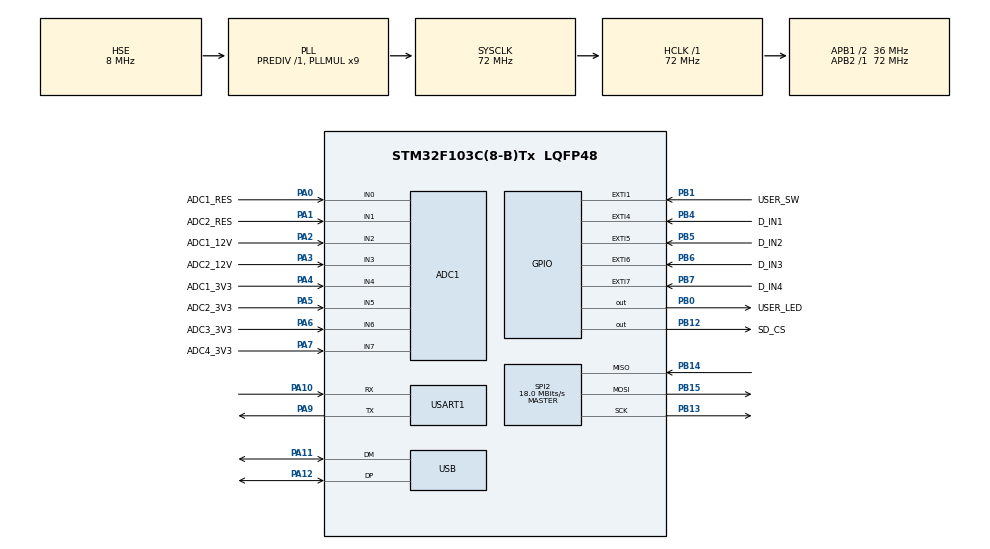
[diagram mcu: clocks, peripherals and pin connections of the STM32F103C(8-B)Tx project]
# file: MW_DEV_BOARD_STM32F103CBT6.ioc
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ADC1.Channel-0\#ChannelRegularConversion=ADC_CHANNEL_0
ADC1.NbrOfConversionFlag=1
ADC1.Rank-0\#ChannelRegularConversion=1
ADC1.SamplingTime-0\#ChannelRegularConversion=ADC_SAMPLETIME_1CYCLE_5
ADC1.master=1
FATFS._MAX_SS=4096
FATFS._USE_LFN=1
Mcu.Family=STM32F1
Mcu.Name=STM32F103C(8-B)Tx
Mcu.Package=LQFP48
NVIC.EXTI1_IRQn=true\:2\:0\:true\:false\:true\:true\:true\:true
NVIC.EXTI4_IRQn=true\:1\:0\:true\:false\:true\:true\:true\:true
NVIC.EXTI9_5_IRQn=true\:1\:0\:true\:false\:true\:true\:true\:true
NVIC.PriorityGroup=NVIC_PRIORITYGROUP_4
NVIC.TIM2_IRQn=true\:0\:0\:false\:false\:true\:true\:true\:true
NVIC.USB_HP_CAN1_TX_IRQn=true\:2\:0\:true\:false\:true\:true\:true\:true
NVIC.USB_LP_CAN1_RX0_IRQn=true\:2\:0\:true\:false\:true\:true\:true\:true
PA0-WKUP.GPIO_Label=ADC1_RES
PA0-WKUP.Signal=ADCx_IN0
PA1.GPIO_Label=ADC2_RES
PA1.Signal=ADCx_IN1
PA10.Mode=Asynchronous
PA10.Signal=USART1_RX
PA11.Mode=Device
PA11.Signal=USB_DM
PA12.Mode=Device
PA12.Signal=USB_DP
PA13.Mode=Serial_Wire
PA13.Signal=SYS_JTMS-SWDIO
PA14.Mode=Serial_Wire
PA14.Signal=SYS_JTCK-SWCLK
PA2.GPIO_Label=ADC1_12V
PA2.Signal=ADCx_IN2
PA3.GPIO_Label=ADC2_12V
PA3.Signal=ADCx_IN3
PA4.GPIO_Label=ADC1_3V3
PA4.Signal=ADCx_IN4
PA5.GPIO_Label=ADC2_3V3
PA5.Signal=ADCx_IN5
PA6.GPIO_Label=ADC3_3V3
PA6.Signal=ADCx_IN6
PA7.GPIO_Label=ADC4_3V3
PA7.Signal=ADCx_IN7
PA9.Mode=Asynchronous
PA9.Signal=USART1_TX
PB0.GPIO_Label=USER_LED
PB0.GPIO_PuPd=GPIO_PULLUP
PB0.GPIO_Speed=GPIO_SPEED_FREQ_HIGH
PB0.PinState=GPIO_PIN_SET
PB0.Signal=GPIO_Output
PB1.GPIO_Label=USER_SW
PB1.GPIO_ModeDefaultEXTI=GPIO_MODE_IT_FALLING
PB1.GPIO_PuPd=GPIO_PULLUP
PB1.Signal=GPXTI1
PB12.GPIO_Label=SD_CS
PB12.GPIO_Speed=GPIO_SPEED_FREQ_HIGH
PB12.PinState=GPIO_PIN_SET
PB12.Signal=GPIO_Output
PB13.Mode=Full_Duplex_Master
PB13.Signal=SPI2_SCK
PB14.Mode=Full_Duplex_Master
PB14.Signal=SPI2_MISO
PB15.Mode=Full_Duplex_Master
PB15.Signal=SPI2_MOSI
PB4.GPIO_Label=D_IN1
PB4.GPIO_ModeDefaultEXTI=GPIO_MODE_IT_FALLING
PB4.GPIO_PuPd=GPIO_PULLUP
PB4.Signal=GPXTI4
PB5.GPIO_Label=D_IN2
PB5.GPIO_ModeDefaultEXTI=GPIO_MODE_IT_FALLING
PB5.GPIO_PuPd=GPIO_PULLUP
PB5.Signal=GPXTI5
PB6.GPIO_Label=D_IN3
PB6.GPIO_ModeDefaultEXTI=GPIO_MODE_IT_FALLING
PB6.GPIO_PuPd=GPIO_PULLUP
PB6.Signal=GPXTI6
PB7.GPIO_Label=D_IN4
PB7.GPIO_ModeDefaultEXTI=GPIO_MODE_IT_FALLING
PB7.GPIO_PuPd=GPIO_PULLUP
PB7.Signal=GPXTI7
PD0-OSC_IN.Mode=HSE-External-Oscillator
PD0-OSC_IN.Signal=RCC_OSC_IN
PD1-OSC_OUT.Mode=HSE-External-Oscillator
PD1-OSC_OUT.Signal=RCC_OSC_OUT
ProjectManager.HeapSize=0x200
ProjectManager.StackSize=0x400
ProjectManager.TargetToolchain=STM32CubeIDE
RCC.ADCPresc=RCC_ADCPCLK2_DIV6
RCC.AHBFreq_Value=72000000
RCC.APB1CLKDivider=RCC_HCLK_DIV2
RCC.APB1Freq_Value=36000000
RCC.APB1TimFreq_Value=72000000
RCC.APB2Freq_Value=72000000
RCC.APB2TimFreq_Value=72000000
RCC.HCLKFreq_Value=72000000
RCC.PLLMUL=RCC_PLL_MUL9
RCC.PLLSourceVirtual=RCC_PLLSOURCE_HSE
RCC.SYSCLKFreq_VALUE=72000000
RCC.SYSCLKSource=RCC_SYSCLKSOURCE_PLLCLK
RCC.USBFreq_Value=48000000
RCC.USBPrescaler=RCC_USBCLKSOURCE_PLL_DIV1_5
SH.ADCx_IN0.0=ADC1_IN0,IN0
SH.ADCx_IN1.0=ADC1_IN1,IN1
SH.ADCx_IN2.0=ADC1_IN2,IN2
SH.ADCx_IN3.0=ADC1_IN3,IN3
SH.ADCx_IN4.0=ADC1_IN4,IN4
SH.ADCx_IN5.0=ADC1_IN5,IN5
SH.ADCx_IN6.0=ADC1_IN6,IN6
SH.ADCx_IN7.0=ADC1_IN7,IN7
SPI2.BaudRatePrescaler=SPI_BAUDRATEPRESCALER_2
SPI2.CalculateBaudRate=18.0 MBits/s
SPI2.Direction=SPI_DIRECTION_2LINES
SPI2.Mode=SPI_MODE_MASTER
SPI2.VirtualType=VM_MASTER
TIM2.Period=9
TIM2.Prescaler=719
USART1.VirtualMode=VM_ASYNC
USB_DEVICE.CLASS_NAME_FS=CDC
USB_DEVICE.MANUFACTURER_STRING=M.WROBEL
USB_DEVICE.VirtualMode=Cdc
USB_DEVICE.VirtualModeFS=Cdc_FS
VP_ADC1_TempSens_Input.Mode=IN-TempSens
VP_FATFS_VS_Generic.Mode=User_defined
VP_TIM2_VS_ClockSourceINT.Mode=Internal
VP_USB_DEVICE_VS_USB_DEVICE_CDC_FS.Mode=CDC_FS
board=custom

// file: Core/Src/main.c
/* USER CODE BEGIN Header */
/**
  ******************************************************************************
  * @file           : main.c
  * @brief          : Main program body
  ******************************************************************************
  * @attention
  *
  * Copyright (c) 2022 STMicroelectronics.
  * All rights reserved.
  *
  * This software is licensed under terms that can be found in the LICENSE file
  * in the root directory of this software component.
  * If no LICENSE file comes with this software, it is provided AS-IS.
  *
  ******************************************************************************
  */
/* USER CODE END Header */
#include "main.h"
#include "fatfs.h"
#include "usb_device.h"

/* USER CODE BEGIN Includes */

#include "string.h"
#include "stdio.h"
#include "stdlib.h"
#include "stdbool.h"

#include "usbd_cdc_if.h"
#include "fatfs_sd.h"
#include "eeprom.h"

/* USER CODE END Includes */

ADC_HandleTypeDef hadc1;

SPI_HandleTypeDef hspi2;

TIM_HandleTypeDef htim2;

UART_HandleTypeDef huart1;

void SystemClock_Config(void);
static void MX_GPIO_Init(void);
static void MX_SPI2_Init(void);
static void MX_TIM2_Init(void);
static void MX_USART1_UART_Init(void);
static void MX_ADC1_Init(void);

/* USER CODE BEGIN 0 */

//FATFS variables
FATFS fs;
FIL fil;
FRESULT fresult;
char buffer [256];

//uSD card capacity related variables
FATFS *pfs;
DWORD fre_clust;
uint32_t total, free_space;

uint8_t m_state, m_init;
uint8_t sd_update;
uint32_t m_current_number, m_session_number;

uint16_t VirtAddVarTab[NB_OF_VAR];
uint16_t VarDataTab[NB_OF_VAR] = {0};
uint16_t VarDataTabRead[NB_OF_VAR];
uint16_t VarIndex,VarDataTmp = 0;

uint8_t file_update = 0;

typedef struct TTime{
	uint32_t us; 			//100us - 1/10ms
	uint32_t mils;
	uint32_t sec;
	uint16_t min;
	uint16_t hour;
} TTime;
TTime Time;

bool state = true;

char file_name [64];
char tbuf [64] = {'0'};

void led_blink (uint8_t state);

void send_uart(char *string);
void send_usb(char *string);
int bufsize (char *buf);
void bufclear (void);

void measurement (void);

/* USER CODE END 0 */

int main(void)
{

  /* MCU Configuration--------------------------------------------------------*/

  /* Reset of all peripherals, Initializes the Flash interface and the Systick. */
  HAL_Init();

  /* Configure the system clock */
  SystemClock_Config();

  /* Initialize all configured peripherals */
  MX_GPIO_Init();
  MX_SPI2_Init();
  MX_FATFS_Init();
  MX_USB_DEVICE_Init();
  MX_TIM2_Init();
  MX_USART1_UART_Init();
  MX_ADC1_Init();
  /* USER CODE BEGIN 2 */

  HAL_TIM_Base_Start_IT(&htim2);
  HAL_FLASH_Unlock();

  //EEPROM Init
  if( EE_Init() != HAL_OK){
	  Error_Handler();
  }

  // Fill EEPROM variables addresses
  for(VarIndex = 1; VarIndex <= NB_OF_VAR; VarIndex++){
	  VirtAddVarTab[VarIndex-1] = VarIndex;
  }

  //read EEPROM
  for (VarIndex = 0; VarIndex < NB_OF_VAR; VarIndex++){
	  if((EE_ReadVariable(VirtAddVarTab[VarIndex], &VarDataTabRead[VarIndex])) != HAL_OK){
		  Error_Handler();
  	  }
  }

  m_session_number = VarDataTabRead[0];

  if (m_session_number < 256){
	  VarDataTab[0] = m_session_number + 1;
  } else {
	  m_session_number = 0;
	  VarDataTab[0] = m_session_number + 1;
  }

  for (VarIndex = 0; VarIndex < NB_OF_VAR; VarIndex++){
	  if((EE_WriteVariable(VirtAddVarTab[VarIndex],  VarDataTab[NB_OF_VAR-VarIndex-1])) != HAL_OK){
  		  Error_Handler();
  	  }
  }

  HAL_Delay(1000);

  send_uart("\r\n***** uSD_CARD INIT ***** \r\n \r\n");
  send_usb("\r\n***** uSD_CARD INIT ***** \r\n \r\n");

  fresult = f_mount(&fs, "", 1);
  if (fresult != FR_OK) {
	  led_blink(0);
	  send_uart ("ERROR MOUNTING SD CARD !!!\r\n \r\n");
	  send_usb ("ERROR MOUNTING SD CARD !!!\r\n \r\n");
  } else {
	  led_blink(1);
	  send_uart ("uSD CARD MOUNTED SUCCESFULLY!!!\r\n \r\n");
	  send_usb ("uSD CARD MOUNTED SUCCESFULLY!!!\r\n \r\n");
  }

  HAL_Delay(100);

  send_uart(":: uSD_CARD INFO ::\r\n");
  send_usb(":: uSD_CARD INFO ::\r\n");

  f_getfree ("", &fre_clust, &pfs);
  total = (uint32_t) (( pfs -> n_fatent - 2) * pfs -> csize * 0.5);
  sprintf (buffer, "uSD CARD total size: \t%lu bytes / %lu mb\r\n", total, total/1024);
  send_uart(buffer);
  send_usb(buffer);
  bufclear();

  free_space = (uint32_t) ( fre_clust * pfs -> csize * 0.5);
  sprintf (buffer, "uSD CARD free space: \t%lu bytes / %lu mb\r\n", free_space, free_space/1024);
  send_uart(buffer);
  send_usb(buffer);
  bufclear();

  sprintf (buffer, "\r\nSession no.: \t%ld\r\n", m_session_number);
  send_uart(buffer);
  send_usb(buffer);
  bufclear();

  send_uart("************************* \r\n");
  send_usb("************************* \r\n");

  HAL_Delay(100);

  HAL_GPIO_WritePin(USER_LED_GPIO_Port, USER_LED_Pin, ENABLE);

  /* USER CODE END 2 */

  /* Infinite loop */
  while (1)
  {

    /* USER CODE BEGIN 3 */

	  switch (m_state){
	  case 1:{
		  if (m_init == 0){
				HAL_GPIO_WritePin(USER_LED_GPIO_Port, USER_LED_Pin, DISABLE);

				sprintf(file_name, "measure_%ld_%ld.txt", m_session_number, m_current_number);

				fresult = f_open (&fil, file_name, FA_OPEN_ALWAYS | FA_READ | FA_WRITE);

				m_current_number++;
				m_init = 1;

				Time.us = 0;
				Time.mils = 0;
				Time.sec = 0;
				Time.min = 0;

	  			send_uart("\r\n*** FILE INFO ***\r\n");
	  			send_usb("\r\n*** FILE INFO ***\r\n");

	  			sprintf(buffer, "file created: %s\r\n", file_name);
	  			send_uart(buffer);
	  			send_usb(buffer);
	  			bufclear();

	  			//SD CARD INFO WRITE
	  			fresult = f_puts ("*****\tFILE\tINFO\t*****\n", &fil);
	  			fresult = f_lseek (&fil, fil.fsize);
	  			sprintf(tbuf, "SSN:\t%ld\n", m_session_number);
	  			fresult = f_puts (tbuf, &fil);
	  			fresult = f_lseek (&fil, fil.fsize);
	  			sprintf(tbuf, "MSNT:\t%ld\n", m_current_number - 1);
	  			fresult = f_puts (tbuf, &fil);
	  			fresult = f_lseek (&fil, fil.fsize);
	  			fresult = f_puts ("LSB:\t0.10\t[ms]\n", &fil);
	  			//fresult = f_lseek (&fil, fil.fsize);
	  			//fresult = f_puts ("*****\t*****\t*****\t*****\n", &fil);
	  			fresult = f_lseek (&fil, fil.fsize);
	  			fresult = f_puts ("-----\t-----\t-----\t-----\n", &fil);
	  			fresult = f_lseek (&fil, fil.fsize);
	  			fresult = f_puts ("D_IN1\tD_IN2\tD_IN3\tD_IN4\n", &fil);
	  			fresult = f_lseek (&fil, fil.fsize);
	  			fresult = f_puts ("-----\t-----\t-----\t-----\n", &fil);

	  			f_getfree ("", &fre_clust, &pfs);
	  			total = (uint32_t) (( pfs -> n_fatent - 2) * pfs -> csize * 0.5);
	  			sprintf (buffer, "uSD CARD total size: \t%lu bytes / %lu mb\r\n", total, total/1024);
	  			send_uart(buffer);
	  			send_usb(buffer);
	  			bufclear();

	  			free_space = (uint32_t) ( fre_clust * pfs -> csize * 0.5);
	  			sprintf (buffer, "uSD CARD free space: \t%lu bytes / %lu mb\r\n", free_space, free_space/1024);
	  			send_uart(buffer);
	  			send_usb(buffer);
	  			bufclear();

	  			send_uart("\r\n---> MEASUREMENT START \r\n");
	  			send_usb("\r\n---> MEASUREMENT START \r\n");
	 	  }

		  if (sd_update) {
	 		  measurement();
	 	  }
	 	  break;
	  }
	  case 2: {
		  f_close(&fil);

		  m_init = 0;
	 	  m_state = 0;

  		  send_uart("MEASUREMENT STOPPED <---\r\n");
  		  send_usb("MEASUREMENT STOPPED <---\r\n");

		  HAL_GPIO_WritePin(USER_LED_GPIO_Port, USER_LED_Pin, ENABLE);

	 	  break;
	  }
	  }
  }
  /* USER CODE END 3 */
}

void SystemClock_Config(void)
{
  RCC_OscInitTypeDef RCC_OscInitStruct = {0};
  RCC_ClkInitTypeDef RCC_ClkInitStruct = {0};
  RCC_PeriphCLKInitTypeDef PeriphClkInit = {0};

  /** Initializes the RCC Oscillators according to the specified parameters
  * in the RCC_OscInitTypeDef structure.
  */
  RCC_OscInitStruct.OscillatorType = RCC_OSCILLATORTYPE_HSE;
  RCC_OscInitStruct.HSEState = RCC_HSE_ON;
  RCC_OscInitStruct.HSEPredivValue = RCC_HSE_PREDIV_DIV1;
  RCC_OscInitStruct.HSIState = RCC_HSI_ON;
  RCC_OscInitStruct.PLL.PLLState = RCC_PLL_ON;
  RCC_OscInitStruct.PLL.PLLSource = RCC_PLLSOURCE_HSE;
  RCC_OscInitStruct.PLL.PLLMUL = RCC_PLL_MUL9;
  if (HAL_RCC_OscConfig(&RCC_OscInitStruct) != HAL_OK)
  {
    Error_Handler();
  }

  /** Initializes the CPU, AHB and APB buses clocks
  */
  RCC_ClkInitStruct.ClockType = RCC_CLOCKTYPE_HCLK|RCC_CLOCKTYPE_SYSCLK
                              |RCC_CLOCKTYPE_PCLK1|RCC_CLOCKTYPE_PCLK2;
  RCC_ClkInitStruct.SYSCLKSource = RCC_SYSCLKSOURCE_PLLCLK;
  RCC_ClkInitStruct.AHBCLKDivider = RCC_SYSCLK_DIV1;
  RCC_ClkInitStruct.APB1CLKDivider = RCC_HCLK_DIV2;
  RCC_ClkInitStruct.APB2CLKDivider = RCC_HCLK_DIV1;

  if (HAL_RCC_ClockConfig(&RCC_ClkInitStruct, FLASH_LATENCY_2) != HAL_OK)
  {
    Error_Handler();
  }
  PeriphClkInit.PeriphClockSelection = RCC_PERIPHCLK_ADC|RCC_PERIPHCLK_USB;
  PeriphClkInit.AdcClockSelection = RCC_ADCPCLK2_DIV6;
  PeriphClkInit.UsbClockSelection = RCC_USBCLKSOURCE_PLL_DIV1_5;
  if (HAL_RCCEx_PeriphCLKConfig(&PeriphClkInit) != HAL_OK)
  {
    Error_Handler();
  }
}

static void MX_ADC1_Init(void)
{

  ADC_ChannelConfTypeDef sConfig = {0};

  /** Common config
  */
  hadc1.Instance = ADC1;
  hadc1.Init.ScanConvMode = ADC_SCAN_DISABLE;
  hadc1.Init.ContinuousConvMode = DISABLE;
  hadc1.Init.DiscontinuousConvMode = DISABLE;
  hadc1.Init.ExternalTrigConv = ADC_SOFTWARE_START;
  hadc1.Init.DataAlign = ADC_DATAALIGN_RIGHT;
  hadc1.Init.NbrOfConversion = 1;
  if (HAL_ADC_Init(&hadc1) != HAL_OK)
  {
    Error_Handler();
  }

  /** Configure Regular Channel
  */
  sConfig.Channel = ADC_CHANNEL_0;
  sConfig.Rank = ADC_REGULAR_RANK_1;
  sConfig.SamplingTime = ADC_SAMPLETIME_1CYCLE_5;
  if (HAL_ADC_ConfigChannel(&hadc1, &sConfig) != HAL_OK)
  {
    Error_Handler();
  }

}

static void MX_SPI2_Init(void)
{

  /* SPI2 parameter configuration*/
  hspi2.Instance = SPI2;
  hspi2.Init.Mode = SPI_MODE_MASTER;
  hspi2.Init.Direction = SPI_DIRECTION_2LINES;
  hspi2.Init.DataSize = SPI_DATASIZE_8BIT;
  hspi2.Init.CLKPolarity = SPI_POLARITY_LOW;
  hspi2.Init.CLKPhase = SPI_PHASE_1EDGE;
  hspi2.Init.NSS = SPI_NSS_SOFT;
  hspi2.Init.BaudRatePrescaler = SPI_BAUDRATEPRESCALER_2;
  hspi2.Init.FirstBit = SPI_FIRSTBIT_MSB;
  hspi2.Init.TIMode = SPI_TIMODE_DISABLE;
  hspi2.Init.CRCCalculation = SPI_CRCCALCULATION_DISABLE;
  hspi2.Init.CRCPolynomial = 10;
  if (HAL_SPI_Init(&hspi2) != HAL_OK)
  {
    Error_Handler();
  }

}

static void MX_TIM2_Init(void)
{

  TIM_ClockConfigTypeDef sClockSourceConfig = {0};
  TIM_MasterConfigTypeDef sMasterConfig = {0};

  htim2.Instance = TIM2;
  htim2.Init.Prescaler = 719;
  htim2.Init.CounterMode = TIM_COUNTERMODE_UP;
  htim2.Init.Period = 9;
  htim2.Init.ClockDivision = TIM_CLOCKDIVISION_DIV1;
  htim2.Init.AutoReloadPreload = TIM_AUTORELOAD_PRELOAD_DISABLE;
  if (HAL_TIM_Base_Init(&htim2) != HAL_OK)
  {
    Error_Handler();
  }
  sClockSourceConfig.ClockSource = TIM_CLOCKSOURCE_INTERNAL;
  if (HAL_TIM_ConfigClockSource(&htim2, &sClockSourceConfig) != HAL_OK)
  {
    Error_Handler();
  }
  sMasterConfig.MasterOutputTrigger = TIM_TRGO_RESET;
  sMasterConfig.MasterSlaveMode = TIM_MASTERSLAVEMODE_DISABLE;
  if (HAL_TIMEx_MasterConfigSynchronization(&htim2, &sMasterConfig) != HAL_OK)
  {
    Error_Handler();
  }

}

static void MX_USART1_UART_Init(void)
{

  huart1.Instance = USART1;
  huart1.Init.BaudRate = 115200;
  huart1.Init.WordLength = UART_WORDLENGTH_8B;
  huart1.Init.StopBits = UART_STOPBITS_1;
  huart1.Init.Parity = UART_PARITY_NONE;
  huart1.Init.Mode = UART_MODE_TX_RX;
  huart1.Init.HwFlowCtl = UART_HWCONTROL_NONE;
  huart1.Init.OverSampling = UART_OVERSAMPLING_16;
  if (HAL_UART_Init(&huart1) != HAL_OK)
  {
    Error_Handler();
  }

}

static void MX_GPIO_Init(void)
{
  GPIO_InitTypeDef GPIO_InitStruct = {0};

  /* GPIO Ports Clock Enable */
  __HAL_RCC_GPIOD_CLK_ENABLE();
  __HAL_RCC_GPIOA_CLK_ENABLE();
  __HAL_RCC_GPIOB_CLK_ENABLE();

  /*Configure GPIO pin Output Level */
  HAL_GPIO_WritePin(GPIOB, USER_LED_Pin|SD_CS_Pin, GPIO_PIN_SET);

  /*Configure GPIO pin : USER_LED_Pin */
  GPIO_InitStruct.Pin = USER_LED_Pin;
  GPIO_InitStruct.Mode = GPIO_MODE_OUTPUT_PP;
  GPIO_InitStruct.Pull = GPIO_PULLUP;
  GPIO_InitStruct.Speed = GPIO_SPEED_FREQ_HIGH;
  HAL_GPIO_Init(USER_LED_GPIO_Port, &GPIO_InitStruct);

  /*Configure GPIO pins : USER_SW_Pin D_IN1_Pin D_IN2_Pin D_IN3_Pin
                           D_IN4_Pin */
  GPIO_InitStruct.Pin = USER_SW_Pin|D_IN1_Pin|D_IN2_Pin|D_IN3_Pin
                          |D_IN4_Pin;
  GPIO_InitStruct.Mode = GPIO_MODE_IT_FALLING;
  GPIO_InitStruct.Pull = GPIO_PULLUP;
  HAL_GPIO_Init(GPIOB, &GPIO_InitStruct);

  /*Configure GPIO pin : SD_CS_Pin */
  GPIO_InitStruct.Pin = SD_CS_Pin;
  GPIO_InitStruct.Mode = GPIO_MODE_OUTPUT_PP;
  GPIO_InitStruct.Pull = GPIO_NOPULL;
  GPIO_InitStruct.Speed = GPIO_SPEED_FREQ_HIGH;
  HAL_GPIO_Init(SD_CS_GPIO_Port, &GPIO_InitStruct);

  /* EXTI interrupt init*/
  HAL_NVIC_SetPriority(EXTI1_IRQn, 2, 0);
  HAL_NVIC_EnableIRQ(EXTI1_IRQn);

  HAL_NVIC_SetPriority(EXTI4_IRQn, 1, 0);
  HAL_NVIC_EnableIRQ(EXTI4_IRQn);

  HAL_NVIC_SetPriority(EXTI9_5_IRQn, 1, 0);
  HAL_NVIC_EnableIRQ(EXTI9_5_IRQn);

}

/* USER CODE BEGIN 4 */

void led_blink (uint8_t state){
	if (state == 1){
		for (uint8_t i = 0; i < 10; i++){
			HAL_GPIO_WritePin(USER_LED_GPIO_Port, USER_LED_Pin, DISABLE);
			HAL_Delay(50);
			HAL_GPIO_WritePin(USER_LED_GPIO_Port, USER_LED_Pin, ENABLE);
			HAL_Delay(50);
		}
	} else {
		for (uint8_t i = 0; i < 4; i++){
			HAL_GPIO_WritePin(USER_LED_GPIO_Port, USER_LED_Pin, DISABLE);
			HAL_Delay(250);
			HAL_GPIO_WritePin(USER_LED_GPIO_Port, USER_LED_Pin, ENABLE);
			HAL_Delay(250);
		}
	}
}

void measurement (void){
		switch (sd_update){
		case 1:
			sprintf(tbuf, "%ld\n", Time.us);
			break;
		case 2:
			sprintf(tbuf, "\t%ld\n", Time.us);
			break;
		case 3:
			sprintf(tbuf, "\t\t%ld\n", Time.us);
			break;
		case 4:
			sprintf(tbuf, "\t\t\t%ld\n", Time.us);
			break;
		}

		fresult = f_lseek (&fil, fil.fsize);
		fresult = f_puts (tbuf, &fil);

		sd_update = 0;
}

void send_uart(char *string){
	uint8_t len = strlen(string);
	HAL_UART_Transmit(&huart1, (uint8_t*) string, len, 2000);
}

void send_usb(char *string){
	uint8_t len = strlen(string);
    CDC_Transmit_FS((uint8_t*) string, len);
}

int bufsize (char *buf){
	int i = 0;
	while (*buf++ != '\0') i++;
	return i;
}

void bufclear (void){
	for (int i = 0; i < 256; i++){
		buffer [i] = '\0';
	}
}

void HAL_TIM_PeriodElapsedCallback(TIM_HandleTypeDef *htim){

	if(htim->Instance == TIM2){
		Time.us ++;
	} else {
		Time.us = 0;
		Time.mils = 0;
		Time.sec = 0;
		Time.min = 0;
		Time.hour = 0;
	}

}

void HAL_GPIO_EXTI_Callback(uint16_t GPIO_Pin){

	switch (GPIO_Pin){
	case USER_SW_Pin:
		if (!HAL_GPIO_ReadPin(USER_SW_GPIO_Port, USER_SW_Pin)){
			m_state ++;
		}
		break;
	case D_IN1_Pin:
		if (!HAL_GPIO_ReadPin(D_IN1_GPIO_Port, D_IN1_Pin)){
			sd_update = 1;
		}
		break;
	case D_IN2_Pin:
		if (!HAL_GPIO_ReadPin(D_IN2_GPIO_Port, D_IN2_Pin)){
			sd_update = 2;
		}
		break;
	case D_IN3_Pin:
		if (!HAL_GPIO_ReadPin(D_IN3_GPIO_Port, D_IN3_Pin)){
			sd_update = 3;
		}
		break;
	case D_IN4_Pin:
		if (!HAL_GPIO_ReadPin(D_IN4_GPIO_Port, D_IN4_Pin)){
			sd_update = 4;
		}
		break;
	}
}

/* USER CODE END 4 */

void Error_Handler(void)
{
  __disable_irq();
  while (1)
  {
  }
}
